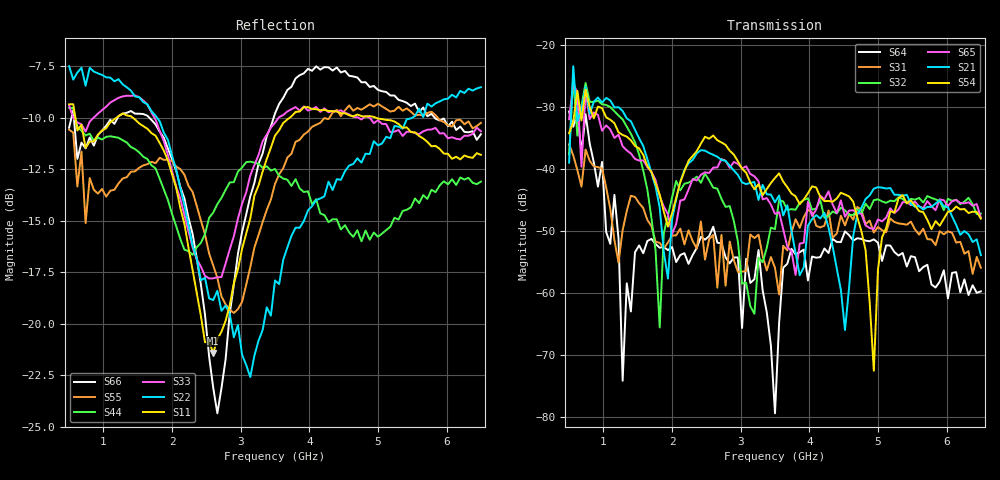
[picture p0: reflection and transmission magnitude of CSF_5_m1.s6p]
!Keysight Technologies,M9804A,MY58100912,A.14.10.03
!Date: Thursday, April 27, 2023 10:28:33
!Correction: S11(C  6-Port  )
!S12(C  6-Port  )
!S13(C  6-Port  )
!S14(C  6-Port  )
!S15(C  6-Port  )
!S16(C  6-Port  )
!S21(C  6-Port  )
!S22(C  6-Port  )
!S23(C  6-Port  )
!S24(C  6-Port  )
!S25(C  6-Port  )
!S26(C  6-Port  )
!S31(C  6-Port  )
!S32(C  6-Port  )
!S33(C  6-Port  )
!S34(C  6-Port  )
!S35(C  6-Port  )
!S36(C  6-Port  )
!S41(C  6-Port  )
!S42(C  6-Port  )
!S43(C  6-Port  )
!S44(C  6-Port  )
!S45(C  6-Port  )
!S46(C  6-Port  )
!S51(C  6-Port  )
!S52(C  6-Port  )
!S53(C  6-Port  )
!S54(C  6-Port  )
!S55(C  6-Port  )
!S56(C  6-Port  )
!S61(C  6-Port  )
!S62(C  6-Port  )
!S63(C  6-Port  )
!S64(C  6-Port  )
!S65(C  6-Port  )
!S66(C  6-Port  )
!S6P File: Measurement: :
# Hz S  RI  R 50
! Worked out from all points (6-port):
!   101 points, 500 MHz to 6.5 GHz, reference 50 ohm
!   strongest paths, dB at 500 MHz, 2 GHz, 3.5 GHz, 5 GHz, 6.5 GHz:
!     S54: -34.2, -47.1, -41.4, -56.2, -48.0
!     S21: -38.9, -48.1, -45.3, -42.9, -53.9
!     S65: -31.9, -50.4, -47.2, -48.1, -47.8
!     S32: -37.6, -44.5, -49.7, -44.9, -47.2
!     S31: -35.9, -50.7, -55.9, -49.3, -55.9
!     S64: -30.7, -52.5, -79.4, -51.8, -59.7
!   lowest |S11| = -21.4 dB at 2.6 GHz (marker M1), VSWR 1.19, Z = 42.4 + j2.18 ohm
!   |S11| at or under -10 dB: 591 MHz to 1.19 GHz (599.1 MHz wide, 67.3 % of centre); 1.43 GHz to 3.712 GHz (2.283 GHz wide, 88.8 % of centre); 4.972 GHz to end of sweep
